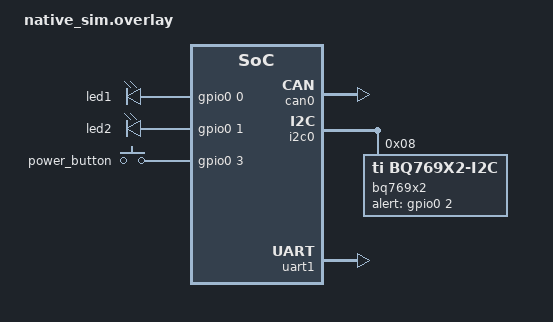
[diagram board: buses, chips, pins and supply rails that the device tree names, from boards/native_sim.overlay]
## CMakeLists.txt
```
# SPDX-License-Identifier: Apache-2.0

cmake_minimum_required(VERSION 3.13.1)
find_package(Zephyr REQUIRED HINTS $ENV{ZEPHYR_BASE})

project(libre_solar_bms)

add_subdirectory_ifndef(CONFIG_MCUBOOT src)

# determine git tag and commit hash for automatic firmware versioning
find_package(Git)
if(GIT_FOUND)
    execute_process(
        COMMAND ${GIT_EXECUTABLE} describe --long --dirty --tags
        OUTPUT_VARIABLE FIRMWARE_VERSION_ID
        OUTPUT_STRIP_TRAILING_WHITESPACE)
else()
    set(FIRMWARE_VERSION_ID "unknown")
endif()
add_definitions(-DFIRMWARE_VERSION_ID="${FIRMWARE_VERSION_ID}")
```

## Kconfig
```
# Copyright (c) The Libre Solar Project Contributors
# SPDX-License-Identifier: Apache-2.0

mainmenu "Libre Solar Battery Management System Firmware"

menu "Battery default settings"

config BAT_CAPACITY_AH
    int "Battery nominal capacity in Ah"
    range 10 1000
    default 50
    help
      Nominal battery capacity or sum of parallel cells capacity

choice
    prompt "Default cell type"
    default CELL_TYPE_LFP
    help
      Select the type of the single cells inside the battery
      to determine voltage set points. Total voltage set points
      are multiplied with the selected number of cells.

      The default values based on this configuration can be overriden via ThingSet.

    config CELL_TYPE_LFP
        bool "LiFePO4, 3.3V nominal"

    config CELL_TYPE_NMC
        bool "NMC/Graphite, 3.7V nominal, 4.2V max"

    config CELL_TYPE_LTO
        bool "NMC/Titanate, 2.4 V nominal"

endchoice

# values must match enum CellType in bms.h
config CELL_TYPE
    int
    default 0 if CELL_TYPE_LFP
    default 1 if CELL_TYPE_NMC
    default 2 if CELL_TYPE_LTO

endmenu

# include main Zephyr menu entries from Zephyr root directory
source "Kconfig.zephyr"
```

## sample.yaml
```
# SPDX-License-Identifier: Apache-2.0

sample:
  name: Libre Solar BMS Firmware

tests:
  bms.native_sim:
    build_only: true
    platform_allow: native_sim

  bms.5s50_sc:
    build_only: true
    platform_allow: bms_5s50_sc

  bms.8s50_ic.oled:
    build_only: true
    platform_allow: bms_8s50_ic@0.2.0
    extra_args:
      - EXTRA_CONF_FILE=oled.conf
      - SHIELD=uext_oled

  bms.15s80_sc:
    build_only: true
    platform_allow: bms_15s80_sc

  bms.16s100_sc:
    build_only: true
    platform_allow: bms_16s100_sc

  bms.c1:
    build_only: true
    platform_allow: bms_c1@0.4.0

  bms.c1.sysbuild:
    build_only: true
    platform_allow: bms_c1@0.4.0
    sysbuild: true
```

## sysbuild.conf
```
# Sysbuild configuration file

# Use MCUboot as bootloader
SB_CONFIG_BOOTLOADER_MCUBOOT=y

# Keep the MCUboot behavior of Zephyr < v4.5 on Espressif SoCs (overwrite-only, unsigned images)
# so that new application images stay compatible with bootloaders already deployed in the field.
SB_CONFIG_MCUBOOT_MODE_OVERWRITE_ONLY=y
SB_CONFIG_BOOT_SIGNATURE_TYPE_NONE=y
```

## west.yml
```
# SPDX-License-Identifier: Apache-2.0

manifest:
  remotes:
    - name: zephyrproject-rtos
      url-base: https://github.com/zephyrproject-rtos
    - name: libresolar
      url-base: https://github.com/LibreSolar
    - name: thingset
      url-base: https://github.com/ThingSet
    - name: throwtheswitch
      url-base: https://github.com/ThrowTheSwitch
  projects:
    - name: zephyr
      remote: zephyrproject-rtos
      revision: v2.7-branch
      import:
        name-whitelist:
          - cmsis
          - edtt
          - hal_stm32
    - name: oled-display-library
      remote: libresolar
      revision: cc3033c0daace8cb50ab0e6406a9498cc81cdb39
      path: modules/oled-display
    - name: thingset-device-library
      remote: thingset
      revision: c3388d7a72e2d20760e7b4ad6c06b6b588849994
      path: modules/thingset
    - name: unity
      remote: throwtheswitch
      revision: 74cde089e65c3435ce9aa87d5c69f4f16b7f6ade
      path: modules/unity
```

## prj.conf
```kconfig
# SPDX-License-Identifier: Apache-2.0

CONFIG_PICOLIBC_IO_FLOAT=y

CONFIG_THREAD_NAME=y

CONFIG_REBOOT=y

CONFIG_EVENTS=y
CONFIG_HWINFO=y

CONFIG_LOG=y
CONFIG_LOG_MODE_MINIMAL=y

CONFIG_I2C=y
CONFIG_BMS_IC=y

# Enable ThingSet library and comms interfaces
CONFIG_THINGSET=y
CONFIG_THINGSET_SDK=y
CONFIG_THINGSET_SERIAL=y
CONFIG_THINGSET_STORAGE=y
CONFIG_THINGSET_STORAGE_DATA_VERSION=2
CONFIG_THINGSET_NODE_NAME="Libre Solar BMS"

# Uncomment to disable live data publication at startup
#CONFIG_THINGSET_REPORTING_LIVE_ENABLE_PRESET=n

# Change default battery nominal capacity (in Ah)
#CONFIG_BAT_CAPACITY_AH=?

# Select cell type for initial configuration: LFP (default), NMC or LTO
#CONFIG_CELL_TYPE_???=y
```

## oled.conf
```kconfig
# SPDX-License-Identifier: Apache-2.0

CONFIG_DISPLAY=y
CONFIG_CHARACTER_FRAMEBUFFER=y
CONFIG_CHARACTER_FRAMEBUFFER_USE_DEFAULT_FONTS=n
CONFIG_HEAP_MEM_POOL_SIZE=4096
```

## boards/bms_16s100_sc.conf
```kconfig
# Copyright (c) The Libre Solar Project Contributors
# SPDX-License-Identifier: Apache-2.0

# STM32G0B1 does not have hardware random number generator. Test RNG should
# be sufficient for CAN node address assignment purposes.
CONFIG_TEST_RANDOM_GENERATOR=y

CONFIG_CAN=y
CONFIG_ISOTP=y
CONFIG_ISOTP_FAST=y

CONFIG_FLASH=y
CONFIG_NVS=y
CONFIG_NVS_LOG_LEVEL_WRN=y
```

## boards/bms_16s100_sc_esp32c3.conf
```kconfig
# Flash
CONFIG_MPU_ALLOW_FLASH_WRITE=y
CONFIG_FLASH=y
CONFIG_NVS=y
CONFIG_NVS_LOG_LEVEL_WRN=y

# Bluetooth
CONFIG_BT=y
CONFIG_BT_PERIPHERAL=y
CONFIG_BT_DEVICE_NAME="LibreSolar BMS-C1"
CONFIG_BT_DEVICE_NAME_DYNAMIC=y
CONFIG_BT_GATT_CLIENT=y

# Increase buffer sizes to allow long ATT values
CONFIG_BT_BUF_ACL_RX_SIZE=251
CONFIG_BT_BUF_ACL_TX_SIZE=251
CONFIG_BT_L2CAP_TX_MTU=251

CONFIG_THINGSET_BLE=y

CONFIG_SHELL=y
# Avoid conflicts with ThingSet ? command
CONFIG_SHELL_WILDCARD=n
# Support `select thingset` to run ThingSet requests directly
CONFIG_SHELL_CMDS_SELECT=y

CONFIG_THINGSET_SHELL=y
CONFIG_THINGSET_SHELL_REPORTING=n
CONFIG_THINGSET_SHELL_CMD_BUF_SIZE=256
```

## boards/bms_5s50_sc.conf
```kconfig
# MCU does not have sufficient RAM
CONFIG_THINGSET_CAN=n
```

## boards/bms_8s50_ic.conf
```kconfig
# Copyright (c) The Libre Solar Project Contributors
# SPDX-License-Identifier: Apache-2.0

CONFIG_EEPROM=y
CONFIG_EEPROM_AT24=y

CONFIG_CAN=y
CONFIG_ISOTP=y
CONFIG_ISOTP_FAST=y
CONFIG_ENTROPY_GENERATOR=y

CONFIG_THINGSET_CAN=y
```

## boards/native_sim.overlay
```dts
/*
 * Copyright (c) The Libre Solar Project Contributors
 *
 * SPDX-License-Identifier: Apache-2.0
 */

#include <dt-bindings/bms_ic/bq769x2.h>

/ {
	pcb {
		compatible = "bms";

		type = "BMS Simulator";
		version-str = "v0.1";
		version-num = <1>;
	};

	chosen {
		zephyr,canbus = &can0;
		thingset,eeprom = &eeprom0;
		thingset,serial = &uart1;
	};

	leds {
		compatible = "gpio-leds";
		led1: led_0 {
			gpios = <&gpio0 0 GPIO_ACTIVE_HIGH>;
		};
		led2: led_1 {
			gpios = <&gpio0 1 GPIO_ACTIVE_HIGH>;
		};
	};

	gpio_keys {
		compatible = "gpio-keys";
		power_button: button {
			gpios = <&gpio0 3 GPIO_ACTIVE_HIGH>;
		};
	};

	aliases {
		led-red = &led1;
		led-green = &led2;
		sw-pwr = &power_button;
		bms-ic = &bq769x2;
	};
};

/*
 * Set up a virtual CAN interface with following commands:
 *
 * sudo ip link add dev vcan0 type vcan
 * sudo ip link set up vcan0
 */
&can0 {
	status = "okay";
	host-interface = "vcan0";
};

&i2c0 {
	status = "okay";

	bq769x2: bq76952@8 {
		compatible = "ti,bq769x2-i2c";
		reg = <0x08>;
		alert-gpios = <&gpio0 2 GPIO_ACTIVE_HIGH>;
		used-cell-channels = <0xFFFF>;
		/* all NTCs configured with 18k pull-up */
		ts1-pin-config = <0x07>;
		dchg-pin-config = <0x0F>;
		cell-temp-pins = <BQ769X2_PIN_TS1>;
		fet-temp-pin = <BQ769X2_PIN_DCHG>;
		board-max-current = <50>;
		shunt-resistor-uohm = <500>;
		status = "okay";
	};
};

&uart1 {
    status = "okay";
};
```

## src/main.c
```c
/*
 * Copyright (c) The Libre Solar Project Contributors
 *
 * SPDX-License-Identifier: Apache-2.0
 */

#include <zephyr/device.h>
#include <zephyr/kernel.h>

#include <stdio.h>

#include "button.h"
#include "data_objects.h"
#include "helper.h"
#include "leds.h"
#include "thingset.h"
#include <bms/bms.h>

LOG_MODULE_REGISTER(bms_main, CONFIG_LOG_DEFAULT_LEVEL);

struct bms_context bms = {
    .ic_dev = DEVICE_DT_GET(DT_ALIAS(bms_ic)),
};

int main(void)
{
    int err;

    LOG_INF("Hardware: Libre Solar %s (%s)", DT_PROP(DT_PATH(pcb), type),
            DT_PROP(DT_PATH(pcb), version_str));
    LOG_INF("Firmware: %s", FIRMWARE_VERSION_ID);

    if (!device_is_ready(bms.ic_dev)) {
        LOG_ERR("BMS IC not ready");
        return -ENODEV;
    }

    bms_ic_assign_data(bms.ic_dev, &bms.ic_data);

    err = bms_ic_set_mode(bms.ic_dev, BMS_IC_MODE_ACTIVE);
    if (err != 0) {
        LOG_ERR("Failed to activate BMS IC: %d", err);
    }

    err = bms_ic_configure(bms.ic_dev, &bms.ic_conf, BMS_IC_CONF_ALL);
    if (err < 0) {
        LOG_ERR("Failed to configure BMS IC: %d", err);
    }

    err = bms_ic_read_data(bms.ic_dev, BMS_IC_DATA_CELL_VOLTAGES);
    if (err != 0) {
        LOG_ERR("Failed to read data from BMS IC: %d", err);
    }

    bms_soc_reset(&bms, -1);

    button_init();

    int64_t t_start = k_uptime_get();
    while (true) {
        err = bms_ic_read_data(bms.ic_dev, BMS_IC_DATA_ALL);
        if (err != 0) {
            LOG_ERR("Failed to read data from BMS IC: %d", err);
        }

        bms_soc_update(&bms);

        bms_state_machine(&bms);

        if (button_pressed_for_3s()) {
            LOG_WRN("Button pressed for 3s: shutdown...");
            bms_shutdown(&bms);
            /*
             * Wait another 10s for the user to release the button again before actually turning off
             * the BMS IC (otherwise it will immediately restart).
             */
            k_sleep(K_MSEC(10000));
            bms_ic_set_mode(bms.ic_dev, BMS_IC_MODE_OFF);
        }

        t_start += CONFIG_BMS_IC_POLLING_INTERVAL_MS;
        k_sleep(K_TIMEOUT_ABS_MS(t_start));
    }

    return 0;
}

static int init_config(void)
{
    bms_init_config(&bms, (enum bms_cell_type)CONFIG_CELL_TYPE, CONFIG_BAT_CAPACITY_AH);

    return 0;
}

/*
 * The default configuration must be initialized before the ThingSet storage backend reads data
 * from EEPROM or flash (with THINGSET_INIT_PRIORITY_STORAGE = 40).
 */
SYS_INIT(init_config, APPLICATION, 0);
```

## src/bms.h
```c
/*
 * Copyright (c) The Libre Solar Project Contributors
 *
 * SPDX-License-Identifier: Apache-2.0
 */

#ifndef BMS_H
#define BMS_H

/** @file
 *
 * @brief
 * Battery Management System (BMS) module for different analog frontends
 */

#include "board.h"

#ifdef __cplusplus
extern "C" {
#endif

#include <stdbool.h>
#include <stddef.h>
#include <stdint.h>
#include <stdio.h>
#include <time.h>

/* fixed number of OCV vs. SOC points */
#define OCV_POINTS 21

static const float soc_pct[OCV_POINTS] = { 100.0F, 95.0F, 90.0F, 85.0F, 80.0F, 85.0F, 70.0F,
                                           65.0F,  60.0F, 55.0F, 50.0F, 45.0F, 40.0F, 35.0F,
                                           30.0F,  25.0F, 20.0F, 15.0F, 10.0F, 5.0F,  0.0F };

/**
 * Possible BMS states
 */
enum BmsState
{
    BMS_STATE_OFF,      ///< Off state (charging and discharging disabled)
    BMS_STATE_CHG,      ///< Charging state (discharging disabled)
    BMS_STATE_DIS,      ///< Discharging state (charging disabled)
    BMS_STATE_NORMAL,   ///< Normal operating mode (both charging and discharging enabled)
    BMS_STATE_SHUTDOWN, ///< BMS starting shutdown sequence
};

/**
 * Battery cell types
 */
enum CellType
{
    CELL_TYPE_CUSTOM = 0, ///< Custom settings
    CELL_TYPE_LFP,        ///< LiFePO4 Li-ion cells (3.3 V nominal)
    CELL_TYPE_NMC,        ///< NMC/Graphite Li-ion cells (3.7 V nominal)
    CELL_TYPE_NMC_HV,     ///< NMC/Graphite High Voltage Li-ion cells (3.7 V nominal, 4.35 V max)
    CELL_TYPE_LTO         ///< NMC/Titanate (2.4 V nominal)
};

/**
 * BMS configuration values, stored in RAM. The configuration is not automatically applied after
 * values are changed!
 */
typedef struct
{
    /// Effective resistance of the current measurement shunt(s) on the PCB (milli-Ohms)
    float shunt_res_mOhm;

    /// Beta value of the used thermistor. Typical value for Semitec 103AT-5 thermistor: 3435
    uint16_t thermistor_beta;

    /// \brief Pointer to an array containing the Open Circuit Voltage of the cell vs. SOC.
    /// SOC must be equally spaced in descending order (100%, 95%, ..., 5%, 0%)
    float *ocv;

    float nominal_capacity_Ah; ///< Nominal capacity of battery pack (Ah)

    // Current limits
    float dis_sc_limit;       ///< Discharge short circuit limit (A)
    uint32_t dis_sc_delay_us; ///< Discharge short circuit delay (us)
    float dis_oc_limit;       ///< Discharge over-current limit (A)
    uint32_t dis_oc_delay_ms; ///< Discharge over-current delay (ms)
    float chg_oc_limit;       ///< Charge over-current limit (A)
    uint32_t chg_oc_delay_ms; ///< Charge over-current delay (ms)

    // Cell voltage limits
    float cell_chg_voltage;    ///< Cell target charge voltage (V)
    float cell_dis_voltage;    ///< Cell discharge voltage limit (V)
    float cell_ov_limit;       ///< Cell over-voltage limit (V)
    float cell_ov_reset;       ///< Cell over-voltage error reset threshold (V)
    uint32_t cell_ov_delay_ms; ///< Cell over-voltage delay (ms)
    float cell_uv_limit;       ///< Cell under-voltage limit (V)
    float cell_uv_reset;       ///< Cell under-voltage error reset threshold (V)
    uint32_t cell_uv_delay_ms; ///< Cell under-voltage delay (ms)

    // Temperature limits (°C)
    float dis_ot_limit; ///< Discharge over-temperature (DOT) limit (°C)
    float dis_ut_limit; ///< Discharge under-temperature (DUT) limit (°C)
    float chg_ot_limit; ///< Charge over-temperature (COT) limit (°C)
    float chg_ut_limit; ///< Charge under-temperature (CUT) limit (°C)
    float t_limit_hyst; ///< Temperature limit hysteresis (°C)

    // Balancing settings
    float bal_cell_voltage_diff; ///< Balancing cell voltage target difference (V)
    float bal_cell_voltage_min;  ///< Minimum cell voltage to start balancing (V)
    float bal_idle_current;      ///< Current threshold to be considered idle (A)
    uint16_t bal_idle_delay;     ///< Minimum idle duration before balancing (s)
} BmsConfig;

/**
 * Current BMS status including measurements and error flags
 */
typedef struct
{
    uint16_t state;  ///< Current state of the battery
    bool chg_enable; ///< Manual enable/disable setting for charging
    bool dis_enable; ///< Manual enable/disable setting for discharging

    uint16_t connected_cells; ///< \brief Actual number of cells connected (might
                              ///< be less than BOARD_NUM_CELLS_MAX)

    float cell_voltages[BOARD_NUM_CELLS_MAX]; ///< Single cell voltages (V)
    float cell_voltage_max;                   ///< Maximum cell voltage (V)
    float cell_voltage_min;                   ///< Minimum cell voltage (V)
    float cell_voltage_avg;                   ///< Average cell voltage (V)
    float pack_voltage;                       ///< Battery external pack voltage (V)
    float stack_voltage;                      ///< Battery internal stack voltage (V)

    float pack_current; ///< \brief Battery pack current, charging direction
                        ///< has positive sign (A)

    float bat_temps[BOARD_NUM_THERMISTORS_MAX]; ///< Battery temperatures (°C)
    float bat_temp_max;                         ///< Maximum battery temperature (°C)
    float bat_temp_min;                         ///< Minimum battery temperature (°C)
    float bat_temp_avg;                         ///< Average battery temperature (°C)
    float mosfet_temp;                          ///< MOSFET temperature (°C)
    float ic_temp;                              ///< Internal BMS IC temperature (°C)
    float mcu_temp;                             ///< MCU temperature (°C)

    bool full;  ///< CV charging to cell_chg_voltage finished
    bool empty; ///< Battery is discharged below cell_dis_voltage

    float soc; ///< Calculated State of Charge (%)

    uint32_t balancing_status; ///< holds on/off status of balancing switches
    time_t no_idle_timestamp;  ///< Stores last time of current > idle threshold

    uint32_t error_flags; ///< Bit array for different BmsErrorFlag errors
} BmsStatus;

/**
 * BMS error flags
 */
enum BmsErrorFlag
{
    BMS_ERR_CELL_UNDERVOLTAGE = 0, ///< Cell undervoltage flag
    BMS_ERR_CELL_OVERVOLTAGE = 1,  ///< Cell undervoltage flag
    BMS_ERR_SHORT_CIRCUIT = 2,     ///< Pack short circuit (discharge direction)
    BMS_ERR_DIS_OVERCURRENT = 3,   ///< Pack overcurrent (discharge direction)
    BMS_ERR_CHG_OVERCURRENT = 4,   ///< Pack overcurrent (charge direction)
    BMS_ERR_OPEN_WIRE = 5,         ///< Cell open wire
    BMS_ERR_DIS_UNDERTEMP = 6,     ///< Temperature below discharge minimum limit
    BMS_ERR_DIS_OVERTEMP = 7,      ///< Temperature above discharge maximum limit
    BMS_ERR_CHG_UNDERTEMP = 8,     ///< Temperature below charge maximum limit
    BMS_ERR_CHG_OVERTEMP = 9,      ///< Temperature above charge maximum limit
    BMS_ERR_INT_OVERTEMP = 10,     ///< Internal temperature above limit (e.g. BMS IC)
    BMS_ERR_CELL_FAILURE = 11,     ///< Cell failure (too high voltage difference)
    BMS_ERR_DIS_OFF = 12,          ///< Discharge FET is off even though it should be on
    BMS_ERR_CHG_OFF = 13,          ///< Charge FET is off even though it should be on
    BMS_ERR_FET_OVERTEMP = 14,     ///< MOSFET temperature above limit
};

typedef struct
{
    BmsConfig conf;
    BmsStatus status;
} Bms;

/**
 * Initialization of BmsStatus with suitable default values.
 *
 * @param bms Pointer to BMS object.
 */
void bms_init_status(Bms *bms);

/**
 * Initialization of BmsConfig with typical default values for the given cell type.
 *
 * @param bms Pointer to BMS object.
 * @param type One of enum CellType (defined as int so that it can be set via Kconfig).
 * @param nominal_capacity Nominal capacity of the battery pack.
 */
void bms_init_config(Bms *bms, int type, float nominal_capacity);

/**
 * Initialization of BMS incl. setup of communication. This function does not yet set any config.
 *
 * @param bms Pointer to BMS object.
 *
 * @returns 0 on success, otherwise negative error code.
 */
int bms_init_hardware(Bms *bms);

/**
 * Main BMS state machine
 *
 * @param bms Pointer to BMS object.
 */
void bms_state_machine(Bms *bms);

/**
 * Update measurements and check for errors before calling the state machine
 *
 * Should be called at least once every 250 ms to get correct coulomb counting
 *
 * @param bms Pointer to BMS object.
 */
void bms_update(Bms *bms);

/**
 * BMS IC start-up delay indicator
 *
 * @returns true if we should wait for the BMS IC to start up
 */
bool bms_startup_inhibit();

/**
 * Shut down BMS IC and entire PCB power supply
 */
void bms_shutdown(Bms *bms);

/**
 * Enable/disable charge MOSFET
 *
 * @param bms Pointer to BMS object.
 * @param enable Desired status of the MOSFET.
 *
 * @returns 0 on success, otherwise negative error code.
 */
int bms_chg_switch(Bms *bms, bool enable);

/**
 * Enable/disable discharge MOSFET
 *
 * @param bms Pointer to BMS object.
 * @param enable Desired status of the MOSFET.
 *
 * @returns 0 on success, otherwise negative error code.
 */
int bms_dis_switch(Bms *bms, bool enable);

/**
 * Charging error flags check
 *
 * @returns true if any charging error flag is set
 */
bool bms_chg_error(uint32_t error_flags);

/**
 * Discharging error flags check
 *
 * @returns true if any discharging error flag is set
 */
bool bms_dis_error(uint32_t error_flags);

/**
 * Check if charging is allowed
 *
 * @returns true if no charging error flags are set
 */
bool bms_chg_allowed(Bms *bms);

/**
 * Check if discharging is allowed
 *
 * @param bms Pointer to BMS object.
 *
 * @returns true if no discharging error flags are set
 */
bool bms_dis_allowed(Bms *bms);

/**
 * Balancing limits check
 *
 * @param bms Pointer to BMS object.
 *
 * @returns if balancing is allowed
 */
bool bms_balancing_allowed(Bms *bms);

/**
 * Reset SOC to specified value or calculate based on average cell open circuit voltage
 *
 * @param bms Pointer to BMS object.
 * @param percent 0-100 %, -1 for calculation based on OCV
 */
void bms_soc_reset(Bms *bms, int percent);

/**
 * Update SOC based on most recent current measurement
 *
 * Function should be called each time after a new current measurement was obtained.
 *
 * @param bms Pointer to BMS object.
 */
void bms_soc_update(Bms *bms);

/**
 * Apply BMS configuration
 *
 * This includes all voltage, current and temperature thresholds as well as balancing settings.
 *
 * If any of the setpoints does not exactly match a possible setting in the BMS IC, it is rounded
 * to the closest allowed value and this value is written back to the BMS config.
 *
 * @param bms Pointer to BMS object.
 *
 * @returns 0 on success, otherwise negative error code.
 */
int bms_configure(Bms *bms);

/**
 * Reads all cell voltages to array cell_voltages[NUM_CELLS], updates battery_voltage and updates
 * ids of cells with min/max voltage
 *
 * @param bms Pointer to BMS object.
 */
void bms_read_voltages(Bms *bms);

/**
 * Reads pack current and updates coloumb counter and SOC
 *
 * @param bms Pointer to BMS object.
 */
void bms_read_current(Bms *bms);

/**
 * Reads all temperature sensors
 *
 * @param bms Pointer to BMS object.
 */
void bms_read_temperatures(Bms *bms);

/**
 * Reads error flags from IC or updates them based on measurements
 *
 * @param bms Pointer to BMS object.
 */
void bms_update_error_flags(Bms *bms);

/**
 * Tries to handle / resolve errors
 *
 * @param bms Pointer to BMS object.
 */
void bms_handle_errors(Bms *bms);

/**
 * Print BMS IC register
 *
 * @param addr Address of the register
 */
void bms_print_register(uint16_t addr);

/**
 * Print all BMS IC registers
 */
void bms_print_registers();

#ifdef __cplusplus
}
#endif

#endif // BMS_H
```

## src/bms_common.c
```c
/*
 * Copyright (c) The Libre Solar Project Contributors
 *
 * SPDX-License-Identifier: Apache-2.0
 */

#include <bms/bms.h>
#include <bms/bms_common.h>

#include "helper.h"

#include <stdio.h>

LOG_MODULE_REGISTER(bms, CONFIG_LOG_DEFAULT_LEVEL);

static const float ocv_lfp[NUM_OCV_POINTS] = {
    3.392F, 3.314F, 3.309F, 3.308F, 3.304F, 3.296F, 3.283F, 3.275F, 3.271F, 3.268F, 3.265F,
    3.264F, 3.262F, 3.252F, 3.240F, 3.226F, 3.213F, 3.190F, 3.177F, 3.132F, 2.833F,
};

static const float ocv_nmc[NUM_OCV_POINTS] = {
    4.198F, 4.135F, 4.089F, 4.056F, 4.026F, 3.993F, 3.962F, 3.924F, 3.883F, 3.858F, 3.838F,
    3.819F, 3.803F, 3.787F, 3.764F, 3.745F, 3.726F, 3.702F, 3.684F, 3.588F, 2.800F,
};

// Source: DOI:10.3390/batteries5010031 (https://www.mdpi.com/2313-0105/5/1/31)
static const float ocv_lto[NUM_OCV_POINTS] = {
    2.800F, 2.513F, 2.458F, 2.415F, 2.376F, 2.340F, 2.309F, 2.282F, 2.259F, 2.240F, 2.224F,
    2.210F, 2.198F, 2.187F, 2.177F, 2.166F, 2.154F, 2.141F, 2.125F, 2.105F, 2.000F,
};

static const float soc_default[NUM_OCV_POINTS] = {
    100.0F, 95.0F, 90.0F, 85.0F, 80.0F, 75.0F, 70.0F, 65.0F, 60.0F, 55.0F, 50.0F,
    45.0F,  40.0F, 35.0F, 30.0F, 25.0F, 20.0F, 15.0F, 10.0F, 5.0F,  0.0F,
};

// actually used OCV vs. SOC curve
float ocv_points[NUM_OCV_POINTS] = { 0 };
float soc_points[NUM_OCV_POINTS] = { 0 };

void bms_init_config(struct bms_context *bms, enum bms_cell_type type, float nominal_capacity_Ah)
{
    bms->nominal_capacity_Ah = nominal_capacity_Ah;
    bms->soc_coulomb_counter_mAs = 0.0F;
    bms->soc_last_update_ms = -1;

    bms->chg_enable = true;
    bms->dis_enable = true;

    bms->ic_conf.auto_balancing = true;
    bms->ic_conf.bal_idle_delay = 1800;         // default: 30 minutes
    bms->ic_conf.bal_idle_current = 0.1F;       // A
    bms->ic_conf.bal_cell_voltage_diff = 0.01F; // 10 mV

#ifdef CONFIG_BMS_IC_CURRENT_MONITORING
    /* 1C should be safe for all batteries */
    bms->ic_conf.dis_oc_limit = bms->nominal_capacity_Ah;
    bms->ic_conf.chg_oc_limit = bms->nominal_capacity_Ah;

    bms->ic_conf.dis_oc_delay_ms = 320;
    bms->ic_conf.chg_oc_delay_ms = 320;

    bms->ic_conf.dis_sc_limit = bms->ic_conf.dis_oc_limit * 2;
    bms->ic_conf.dis_sc_delay_us = 200;
#endif /* CONFIG_BMS_IC_CURRENT_MONITORING */

    bms->ic_conf.dis_ut_limit = -20;
    bms->ic_conf.dis_ot_limit = 45;
    bms->ic_conf.chg_ut_limit = 0;
    bms->ic_conf.chg_ot_limit = 45;
    bms->ic_conf.temp_limit_hyst = 5;

    bms->ic_conf.cell_ov_delay_ms = 2000;
    bms->ic_conf.cell_uv_delay_ms = 2000;

    bms->ocv_points = ocv_points;
    bms->soc_points = soc_points;

    memcpy(soc_points, soc_default, sizeof(soc_points));

    switch (type) {
        case CELL_TYPE_LFP:
            bms->ic_conf.cell_ov_limit = 3.80F;
            bms->ic_conf.cell_chg_voltage_limit = 3.55F;
            bms->ic_conf.cell_ov_reset = 3.40F;
            bms->ic_conf.bal_cell_voltage_min = 3.30F;
            bms->ic_conf.cell_uv_reset = 3.10F;
            bms->ic_conf.cell_dis_voltage_limit = 2.80F;
            /*
             * most cells survive even 2.0V, but we should keep some margin for further
             * self-discharge
             */
            bms->ic_conf.cell_uv_limit = 2.50F;
            memcpy(ocv_points, ocv_lfp, sizeof(ocv_points));
            break;
        case CELL_TYPE_NMC:
            bms->ic_conf.cell_ov_limit = 4.25F;
            bms->ic_conf.cell_chg_voltage_limit = 4.20F;
            bms->ic_conf.cell_ov_reset = 4.05F;
            bms->ic_conf.bal_cell_voltage_min = 3.80F;
            bms->ic_conf.cell_uv_reset = 3.50F;
            bms->ic_conf.cell_dis_voltage_limit = 3.20F;
            bms->ic_conf.cell_uv_limit = 3.00F;
            memcpy(ocv_points, ocv_nmc, sizeof(ocv_points));
            break;
        case CELL_TYPE_LTO:
            bms->ic_conf.cell_ov_limit = 2.85F;
            bms->ic_conf.cell_chg_voltage_limit = 2.80F;
            bms->ic_conf.cell_ov_reset = 2.70F;
            bms->ic_conf.bal_cell_voltage_min = 2.50F;
            bms->ic_conf.cell_uv_reset = 2.10F;
            bms->ic_conf.cell_dis_voltage_limit = 2.00F;
            bms->ic_conf.cell_uv_limit = 1.90F;
            memcpy(ocv_points, ocv_lto, sizeof(ocv_points));
            break;
    }

    /* trigger alert for all possible errors by default */
    bms->ic_conf.alert_mask = BMS_ERR_ALL;
}

__weak void bms_state_machine(struct bms_context *bms)
{
    switch (bms->state) {
        case BMS_STATE_OFF:
            if (bms_dis_allowed(bms)) {
                bms_ic_set_switches(bms->ic_dev, BMS_SWITCH_DIS, true);
                bms->state = BMS_STATE_DIS;
                LOG_INF("OFF -> DIS (error flags: 0x%08x)", bms->ic_data.error_flags);
            }
            else if (bms_chg_allowed(bms)) {
                bms_ic_set_switches(bms->ic_dev, BMS_SWITCH_CHG, true);
                bms->state = BMS_STATE_CHG;
                LOG_INF("OFF -> CHG (error flags: 0x%08x)", bms->ic_data.error_flags);
            }
            break;
        case BMS_STATE_CHG:
            if (!bms_chg_allowed(bms)) {
                bms_ic_set_switches(bms->ic_dev, BMS_SWITCH_CHG, false);
                /* DIS switch may be on on because of ideal diode control */
                bms_ic_set_switches(bms->ic_dev, BMS_SWITCH_DIS, false);
                bms->state = BMS_STATE_OFF;
                LOG_INF("CHG -> OFF (error flags: 0x%08x)", bms->ic_data.error_flags);
            }
            else if (bms_dis_allowed(bms)) {
                bms_ic_set_switches(bms->ic_dev, BMS_SWITCH_DIS, true);
                bms->state = BMS_STATE_NORMAL;
                LOG_INF("CHG -> NORMAL (error flags: 0x%08x)", bms->ic_data.error_flags);
            }
#ifndef CONFIG_BMS_IC_BQ769X2 /* bq769x2 has built-in ideal diode control */
            else {
                /* ideal diode control for discharge MOSFET (with hysteresis) */
                if (bms->ic_data.current > 0.5F) {
                    bms_ic_set_switches(bms->ic_dev, BMS_SWITCH_DIS, true);
                }
                else if (bms->ic_data.current < 0.1F) {
                    bms_ic_set_switches(bms->ic_dev, BMS_SWITCH_DIS, false);
                }
            }
#endif
            break;
        case BMS_STATE_DIS:
            if (!bms_dis_allowed(bms)) {
                bms_ic_set_switches(bms->ic_dev, BMS_SWITCH_DIS, false);
                /* CHG_FET may be on because of ideal diode control */
                bms_ic_set_switches(bms->ic_dev, BMS_SWITCH_CHG, false);
                bms->state = BMS_STATE_OFF;
                LOG_INF("DIS -> OFF (error flags: 0x%08x)", bms->ic_data.error_flags);
            }
            else if (bms_chg_allowed(bms)) {
                bms_ic_set_switches(bms->ic_dev, BMS_SWITCH_CHG, true);
                bms->state = BMS_STATE_NORMAL;
                LOG_INF("DIS -> NORMAL (error flags: 0x%08x)", bms->ic_data.error_flags);
            }
#ifndef CONFIG_BMS_IC_BQ769X2 /* bq769x2 has built-in ideal diode control */
            else {
                /* ideal diode control for charge MOSFET (with hysteresis) */
                if (bms->ic_data.current < -0.5F) {
                    bms_ic_set_switches(bms->ic_dev, BMS_SWITCH_CHG, true);
                }
                else if (bms->ic_data.current > -0.1F) {
                    bms_ic_set_switches(bms->ic_dev, BMS_SWITCH_CHG, false);
                }
            }
#endif
            break;
        case BMS_STATE_NORMAL:
            if (!bms_dis_allowed(bms)) {
                bms_ic_set_switches(bms->ic_dev, BMS_SWITCH_DIS, false);
                if (!bms_chg_allowed(bms)) {
                    bms_ic_set_switches(bms->ic_dev, BMS_SWITCH_CHG, false);
                    bms->state = BMS_STATE_OFF;
                    LOG_INF("NORMAL -> OFF (error flags: 0x%08x)", bms->ic_data.error_flags);
                }
                else {
                    bms->state = BMS_STATE_CHG;
                    LOG_INF("NORMAL -> CHG (error flags: 0x%08x)", bms->ic_data.error_flags);
                }
            }
            else if (!bms_chg_allowed(bms)) {
                bms_ic_set_switches(bms->ic_dev, BMS_SWITCH_CHG, false);
                bms->state = BMS_STATE_DIS;
                LOG_INF("NORMAL -> DIS (error flags: 0x%08x)", bms->ic_data.error_flags);
            }
            break;
        case BMS_STATE_SHUTDOWN:
            /* do nothing and wait until shutdown is completed */
            break;
    }
}

void bms_shutdown(struct bms_context *bms)
{
    bms_ic_set_switches(bms->ic_dev, BMS_SWITCH_DIS, false);
    bms_ic_set_switches(bms->ic_dev, BMS_SWITCH_CHG, false);
    bms->state = BMS_STATE_SHUTDOWN;
}

bool bms_chg_error(uint32_t error_flags)
{
    return error_flags
           & (BMS_ERR_CELL_OVERVOLTAGE | BMS_ERR_CHG_OVERCURRENT | BMS_ERR_OPEN_WIRE
              | BMS_ERR_CHG_UNDERTEMP | BMS_ERR_CHG_OVERTEMP | BMS_ERR_INT_OVERTEMP
              | BMS_ERR_CELL_FAILURE | BMS_ERR_CHG_OFF);
}

bool bms_dis_error(uint32_t error_flags)
{
    return error_flags
           & (BMS_ERR_CELL_UNDERVOLTAGE | BMS_ERR_SHORT_CIRCUIT | BMS_ERR_DIS_OVERCURRENT
              | BMS_ERR_OPEN_WIRE | BMS_ERR_DIS_UNDERTEMP | BMS_ERR_DIS_OVERTEMP
              | BMS_ERR_INT_OVERTEMP | BMS_ERR_CELL_FAILURE | BMS_ERR_DIS_OFF);
}

bool bms_chg_allowed(struct bms_context *bms)
{
    return !bms_chg_error(bms->ic_data.error_flags & ~BMS_ERR_CHG_OFF) && !bms->full
           && bms->chg_enable;
}

bool bms_dis_allowed(struct bms_context *bms)
{
    return !bms_dis_error(bms->ic_data.error_flags & ~BMS_ERR_DIS_OFF) && !bms->empty
           && bms->dis_enable;
}
```

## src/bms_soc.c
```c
/*
 * Copyright (c) The Libre Solar Project Contributors
 *
 * SPDX-License-Identifier: Apache-2.0
 */

#include <bms/bms.h>

#include "helper.h"

void bms_soc_reset(struct bms_context *bms, int percent)
{
    bms->soc_coulomb_counter_mAs = 0.0F;
    bms->soc_last_update_ms = -1;

    if (percent <= 100 && percent >= 0) {
        bms->soc = percent;
    }
    else if (bms->ocv_points != NULL && bms->soc_points != NULL
             && !is_empty((uint8_t *)bms->ocv_points, NUM_OCV_POINTS * sizeof(float))
             && !is_empty((uint8_t *)bms->soc_points, NUM_OCV_POINTS * sizeof(float)))
    {
        // Executes if both OCV and SOC points are valid pointers and arrays contain non-zero data.
        bms->soc = interpolate(bms->ocv_points, bms->soc_points, NUM_OCV_POINTS,
                               bms->ic_data.cell_voltage_avg);
    }
    else {
        // no OCV curve specified, use simplified estimation instead
        float ocv_simple[2] = { bms->ic_conf.cell_chg_voltage_limit,
                                bms->ic_conf.cell_dis_voltage_limit };
        float soc_simple[2] = { 100.0F, 0.0F };
        bms->soc = interpolate(ocv_simple, soc_simple, 2, bms->ic_data.cell_voltage_avg);
    }
}

void bms_soc_update(struct bms_context *bms)
{
    int64_t now = k_uptime_get();

    if (bms->soc_last_update_ms < 0) {
        bms->soc_last_update_ms = now;
        return;
    }

    bms->soc_coulomb_counter_mAs += bms->ic_data.current * (now - bms->soc_last_update_ms);
    bms->soc_last_update_ms = now;

    float soc_delta = bms->soc_coulomb_counter_mAs / (bms->nominal_capacity_Ah * 3.6e4F);

    if (soc_delta > 0.1F || soc_delta < -0.1F) {
        // only update SoC after significant changes to maintain higher resolution
        float soc_tmp = bms->soc + soc_delta;
        bms->soc = CLAMP(soc_tmp, 0.0F, 100.0F);
        bms->soc_coulomb_counter_mAs = 0.0F;
    }
}
```

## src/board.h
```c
/*
 * Copyright (c) The Libre Solar Project Contributors
 *
 * SPDX-License-Identifier: Apache-2.0
 */

#ifndef BOARD_H_
#define BOARD_H_

#include <zephyr/kernel.h>

#define BOARD_NUM_CELLS_MAX       DT_PROP(DT_PATH(pcb), num_cells_max)
#define BOARD_NUM_THERMISTORS_MAX DT_PROP(DT_PATH(pcb), num_thermistors_max)

#define BOARD_MAX_CURRENT    DT_PROP(DT_PATH(pcb), current_max)
#define BOARD_SHUNT_RESISTOR (DT_PROP(DT_PATH(pcb), shunt_res) / 1000.0)

#endif // BOARD_H_
```

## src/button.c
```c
/*
 * Copyright (c) The Libre Solar Project Contributors
 *
 * SPDX-License-Identifier: Apache-2.0
 */

#include "button.h"

#include <zephyr/device.h>
#include <zephyr/drivers/gpio.h>
#include <zephyr/kernel.h>

#include "helper.h"

LOG_MODULE_REGISTER(button, CONFIG_LOG_DEFAULT_LEVEL);

#define BTN_GPIO  DT_ALIAS(sw_pwr)
#define BTN_CTLR  DT_GPIO_CTLR(BTN_GPIO, gpios)
#define BTN_PIN   DT_GPIO_PIN(BTN_GPIO, gpios)
#define BTN_FLAGS DT_GPIO_FLAGS(BTN_GPIO, gpios)

static const struct device *btn_dev = DEVICE_DT_GET(BTN_CTLR);
static struct gpio_callback btn_cb_data;
static int64_t time_pressed;

static void button_pressed_cb(const struct device *dev, struct gpio_callback *cb, uint32_t pins)
{
    time_pressed = k_uptime_get();
}

void button_init()
{
    if (!device_is_ready(btn_dev)) {
        LOG_ERR("Button device not found");
        return;
    }

    gpio_pin_configure(btn_dev, BTN_PIN, BTN_FLAGS | GPIO_INPUT);
    gpio_pin_interrupt_configure(btn_dev, BTN_PIN, GPIO_INT_EDGE_TO_ACTIVE);
    gpio_init_callback(&btn_cb_data, button_pressed_cb, BIT(BTN_PIN));
    gpio_add_callback(btn_dev, &btn_cb_data);
}

bool button_pressed_for_3s()
{
    return gpio_pin_get(btn_dev, BTN_PIN) == 1 && (k_uptime_get() - time_pressed) > 3000;
}
```

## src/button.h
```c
/*
 * Copyright (c) The Libre Solar Project Contributors
 *
 * SPDX-License-Identifier: Apache-2.0
 */

#ifndef BUTTON_H_
#define BUTTON_H_

#include <stdbool.h>

#ifdef __cplusplus
extern "C" {
#endif

/**
 * @file
 * @brief Functions to handle on/off switch
 */

/**
 * Initialize button and configure interrupts
 */
void button_init();

/**
 * Check if button was pressed for 3 seconds
 *
 * \return true if pressed for at least 3 seconds
 */
bool button_pressed_for_3s();

#ifdef __cplusplus
}
#endif

#endif /* BUTTON_H_ */
```

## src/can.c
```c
/*
 * Copyright (c) The ThingSet Project Contributors
 *
 * SPDX-License-Identifier: Apache-2.0
 */

#include <zephyr/device.h>
#include <zephyr/kernel.h>

#include "thingset/can.h"
#include "thingset/sdk.h"

#define CAN_NODE DT_CHOSEN(thingset_can)

#if !DT_NODE_EXISTS(CAN_NODE)
#error "No CAN device chosen."
#endif

static const struct device *can_dev = DEVICE_DT_GET(CAN_NODE);

static struct thingset_can ts_can;

static void thingset_can_thread()
{
    thingset_can_init(&ts_can, can_dev);

    while (1) {
        thingset_can_process(&ts_can);
    }
}

K_THREAD_DEFINE(thingset_can, CONFIG_THINGSET_CAN_THREAD_STACK_SIZE, thingset_can_thread, NULL,
                NULL, NULL, CONFIG_THINGSET_CAN_THREAD_PRIORITY, 0, 1000);
```

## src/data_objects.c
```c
/*
 * Copyright (c) The Libre Solar Project Contributors
 *
 * SPDX-License-Identifier: Apache-2.0
 */

#include "data_objects.h"

#include <zephyr/kernel.h>

#include <zephyr/drivers/hwinfo.h>
#include <zephyr/sys/crc.h>
#include <zephyr/sys/reboot.h>

#include <thingset/sdk.h>
#include <thingset/storage.h>

#include <bms/bms.h>

#include <stdio.h>

extern struct bms_context bms;
extern float ocv_points[NUM_OCV_POINTS];
extern float soc_points[NUM_OCV_POINTS];

static char manufacturer[] = "Libre Solar";
static char device_type[] = DT_PROP(DT_PATH(pcb), type);
static char hardware_version[] = DT_PROP(DT_PATH(pcb), version_str);
static char firmware_version[] = FIRMWARE_VERSION_ID;

// struct to define ThingSet array node
static THINGSET_DEFINE_FLOAT_ARRAY(cell_voltages_arr, 3, bms.ic_data.cell_voltages,
                                   ARRAY_SIZE(bms.ic_data.cell_voltages));

static THINGSET_DEFINE_FLOAT_ARRAY(cell_temps_arr, 1, bms.ic_data.cell_temps,
                                   ARRAY_SIZE(bms.ic_data.cell_temps));

static THINGSET_DEFINE_FLOAT_ARRAY(ocv_points_arr, 3, ocv_points, ARRAY_SIZE(ocv_points));

static THINGSET_DEFINE_FLOAT_ARRAY(soc_points_arr, 1, soc_points, ARRAY_SIZE(soc_points));

// used for xInitConf functions
static float new_capacity = 0;

/**
 * ThingSet data objects (see https://github.com/ThingSet)
 */

// DEVICE INFORMATION /////////////////////////////////////////////////////

THINGSET_ADD_GROUP(TS_ID_ROOT, APP_ID_DEVICE, "Device", THINGSET_NO_CALLBACK);

THINGSET_ADD_ITEM_STRING(APP_ID_DEVICE, APP_ID_DEVICE_MANUFACTURER, "cManufacturer", manufacturer,
                         sizeof(manufacturer), THINGSET_ANY_R, 0);

THINGSET_ADD_ITEM_STRING(APP_ID_DEVICE, APP_ID_DEVICE_TYPE, "cDeviceType", device_type,
                         sizeof(device_type), THINGSET_ANY_R, 0);

THINGSET_ADD_ITEM_STRING(APP_ID_DEVICE, APP_ID_DEVICE_HW_VER, "cHardwareVersion", hardware_version,
                         sizeof(hardware_version), THINGSET_ANY_R, 0);

THINGSET_ADD_ITEM_STRING(APP_ID_DEVICE, APP_ID_DEVICE_FW_VER, "cFirmwareVersion", firmware_version,
                         sizeof(firmware_version), THINGSET_ANY_R, 0);

THINGSET_ADD_FN_VOID(APP_ID_DEVICE, APP_ID_DEVICE_SHUTDOWN, "xShutdown", &shutdown,
                     THINGSET_ANY_RW);

THINGSET_ADD_FN_VOID(APP_ID_DEVICE, APP_ID_DEVICE_RESET, "xReset", &reset_device, THINGSET_ANY_RW);

THINGSET_ADD_FN_VOID(APP_ID_DEVICE, APP_ID_DEVICE_PRINT_REGS, "xDebugPrintRegisters",
                     &print_registers, THINGSET_ANY_RW);

// CONFIGURATION //////////////////////////////////////////////////////////

THINGSET_ADD_GROUP(TS_ID_ROOT, APP_ID_CONF, "Conf", &data_objects_update_conf);

// general battery settings

THINGSET_ADD_ITEM_FLOAT(APP_ID_CONF, APP_ID_CONF_NOMINAL_CAPACITY, "sNominalCapacity_Ah",
                        &bms.nominal_capacity_Ah, 1, THINGSET_ANY_R | THINGSET_ANY_W,
                        TS_SUBSET_NVM);

THINGSET_ADD_ITEM_ARRAY(APP_ID_CONF, APP_ID_CONF_OCV_POINTS, "sOcvPoints_V", &ocv_points_arr,
                        THINGSET_ANY_R | THINGSET_ANY_W, TS_SUBSET_NVM);

THINGSET_ADD_ITEM_ARRAY(APP_ID_CONF, APP_ID_CONF_SOC_POINTS, "sSocPoints_pct", &soc_points_arr,
                        THINGSET_ANY_R | THINGSET_ANY_W, TS_SUBSET_NVM);

// current limits

THINGSET_ADD_ITEM_FLOAT(APP_ID_CONF, APP_ID_CONF_SHORT_CIRCUIT_CURRENT, "sShortCircuitLimit_A",
                        &bms.ic_conf.dis_sc_limit, 1, THINGSET_ANY_R | THINGSET_ANY_W,
                        TS_SUBSET_NVM);

THINGSET_ADD_ITEM_UINT32(APP_ID_CONF, APP_ID_CONF_SHORT_CIRCUIT_DELAY, "sShortCircuitDelay_us",
                         &bms.ic_conf.dis_sc_delay_us, THINGSET_ANY_R | THINGSET_ANY_W,
                         TS_SUBSET_NVM);

THINGSET_ADD_ITEM_FLOAT(APP_ID_CONF, APP_ID_CONF_DIS_OVERCURRENT, "sDisOvercurrent_A",
                        &bms.ic_conf.dis_oc_limit, 1, THINGSET_ANY_R | THINGSET_ANY_W,
                        TS_SUBSET_NVM);

THINGSET_ADD_ITEM_UINT32(APP_ID_CONF, APP_ID_CONF_DIS_OVERCURRENT_DELAY, "sDisOvercurrentDelay_ms",
                         &bms.ic_conf.dis_oc_delay_ms, THINGSET_ANY_R | THINGSET_ANY_W,
                         TS_SUBSET_NVM);

THINGSET_ADD_ITEM_FLOAT(APP_ID_CONF, APP_ID_CONF_CHG_OVERCURRENT, "sChgOvercurrent_A",
                        &bms.ic_conf.chg_oc_limit, 1, THINGSET_ANY_R | THINGSET_ANY_W,
                        TS_SUBSET_NVM);

THINGSET_ADD_ITEM_UINT32(APP_ID_CONF, APP_ID_CONF_CHG_OVERCURRENT_DELAY, "sChgOvercurrentDelay_ms",
                         &bms.ic_conf.chg_oc_delay_ms, THINGSET_ANY_R | THINGSET_ANY_W,
                         TS_SUBSET_NVM);

// temperature limits

THINGSET_ADD_ITEM_FLOAT(APP_ID_CONF, APP_ID_CONF_DIS_MAX_TEMP, "sDisMaxTemp_degC",
                        &bms.ic_conf.dis_ot_limit, 1, THINGSET_ANY_R | THINGSET_ANY_W,
                        TS_SUBSET_NVM);

THINGSET_ADD_ITEM_FLOAT(APP_ID_CONF, APP_ID_CONF_DIS_MIN_TEMP, "sDisMinTemp_degC",
                        &bms.ic_conf.dis_ut_limit, 1, THINGSET_ANY_R | THINGSET_ANY_W,
                        TS_SUBSET_NVM);

THINGSET_ADD_ITEM_FLOAT(APP_ID_CONF, APP_ID_CONF_CHG_MAX_TEMP, "sChgMaxTemp_degC",
                        &bms.ic_conf.chg_ot_limit, 1, THINGSET_ANY_R | THINGSET_ANY_W,
                        TS_SUBSET_NVM);

THINGSET_ADD_ITEM_FLOAT(APP_ID_CONF, APP_ID_CONF_CHG_MIN_TEMP, "sChgMinTemp_degC",
                        &bms.ic_conf.chg_ut_limit, 1, THINGSET_ANY_R | THINGSET_ANY_W,
                        TS_SUBSET_NVM);

THINGSET_ADD_ITEM_FLOAT(APP_ID_CONF, APP_ID_CONF_TEMP_HYST, "sTempLimitHysteresis_degC",
                        &bms.ic_conf.temp_limit_hyst, 1, THINGSET_ANY_R | THINGSET_ANY_W,
                        TS_SUBSET_NVM);

// voltage limits

THINGSET_ADD_ITEM_FLOAT(APP_ID_CONF, APP_ID_CONF_CELL_OVERVOLTAGE, "sCellOvervoltage_V",
                        &bms.ic_conf.cell_ov_limit, 1, THINGSET_ANY_R | THINGSET_ANY_W,
                        TS_SUBSET_NVM);

THINGSET_ADD_ITEM_FLOAT(APP_ID_CONF, APP_ID_CONF_CELL_OVERVOLTAGE_RESET, "sCellOvervoltageReset_V",
                        &bms.ic_conf.cell_ov_reset, 1, THINGSET_ANY_R | THINGSET_ANY_W,
                        TS_SUBSET_NVM);

THINGSET_ADD_ITEM_UINT32(APP_ID_CONF, APP_ID_CONF_CELL_OVERVOLTAGE_DELAY,
                         "sCellOvervoltageDelay_ms", &bms.ic_conf.cell_ov_delay_ms,
                         THINGSET_ANY_R | THINGSET_ANY_W, TS_SUBSET_NVM);

THINGSET_ADD_ITEM_FLOAT(APP_ID_CONF, APP_ID_CONF_CELL_UNDERVOLTAGE, "sCellUndervoltage_V",
                        &bms.ic_conf.cell_uv_limit, 1, THINGSET_ANY_R | THINGSET_ANY_W,
                        TS_SUBSET_NVM);

THINGSET_ADD_ITEM_FLOAT(APP_ID_CONF, APP_ID_CONF_CELL_UNDERVOLTAGE_RESET,
                        "sCellUndervoltageReset_V", &bms.ic_conf.cell_uv_reset, 1,
                        THINGSET_ANY_R | THINGSET_ANY_W, TS_SUBSET_NVM);

THINGSET_ADD_ITEM_UINT32(APP_ID_CONF, APP_ID_CONF_CELL_UNDERVOLTAGE_DELAY,
                         "sCellUndervoltageDelay_ms", &bms.ic_conf.cell_uv_delay_ms,
                         THINGSET_ANY_R | THINGSET_ANY_W, TS_SUBSET_NVM);

// balancing

THINGSET_ADD_ITEM_FLOAT(APP_ID_CONF, APP_ID_CONF_BAL_TARGET_DIFF, "sBalTargetVoltageDiff_V",
                        &bms.ic_conf.bal_cell_voltage_diff, 3, THINGSET_ANY_R | THINGSET_ANY_W,
                        TS_SUBSET_NVM);

THINGSET_ADD_ITEM_FLOAT(APP_ID_CONF, APP_ID_CONF_BAL_MIN_VOLTAGE, "sBalMinVoltage_V",
                        &bms.ic_conf.bal_cell_voltage_min, 1, THINGSET_ANY_R | THINGSET_ANY_W,
                        TS_SUBSET_NVM);

THINGSET_ADD_ITEM_UINT16(APP_ID_CONF, APP_ID_CONF_BAL_IDLE_DELAY, "sBalIdleDelay_s",
                         &bms.ic_conf.bal_idle_delay, THINGSET_ANY_R | THINGSET_ANY_W,
                         TS_SUBSET_NVM);

THINGSET_ADD_ITEM_FLOAT(APP_ID_CONF, APP_ID_CONF_BAL_IDLE_CURRENT, "sBalIdleCurrent_A",
                        &bms.ic_conf.bal_idle_current, 1, THINGSET_ANY_R | THINGSET_ANY_W,
                        TS_SUBSET_NVM);

THINGSET_ADD_FN_INT32(APP_ID_CONF, APP_ID_CONF_PRESET_NMC, "xPresetNMC", &bat_preset_nmc,
                      THINGSET_ANY_RW);
THINGSET_ADD_ITEM_FLOAT(APP_ID_CONF_PRESET_NMC, APP_ID_CONF_PRESET_NMC_CAPACITY, "fCapacity_Ah",
                        &new_capacity, 1, THINGSET_ANY_RW, 0);

THINGSET_ADD_FN_INT32(APP_ID_CONF, APP_ID_CONF_PRESET_LFP, "xPresetLFP", &bat_preset_lfp,
                      THINGSET_ANY_RW);
THINGSET_ADD_ITEM_FLOAT(APP_ID_CONF_PRESET_LFP, APP_ID_CONF_PRESET_LFP_CAPACITY, "fCapacity_Ah",
                        &new_capacity, 1, THINGSET_ANY_RW, 0);

THINGSET_ADD_FN_INT32(APP_ID_CONF, APP_ID_CONF_PRESET_LTO, "xPresetLTO", &bat_preset_lto,
                      THINGSET_ANY_RW);
THINGSET_ADD_ITEM_FLOAT(APP_ID_CONF_PRESET_LTO, APP_ID_CONF_PRESET_LTO_CAPACITY, "fCapacity_Ah",
                        &new_capacity, 1, THINGSET_ANY_RW, 0);

// MEAS DATA ////////////////////////////////////////////////////////////

THINGSET_ADD_GROUP(TS_ID_ROOT, APP_ID_MEAS, "Meas", THINGSET_NO_CALLBACK);

THINGSET_ADD_ITEM_FLOAT(APP_ID_MEAS, APP_ID_MEAS_PACK_VOLTAGE, "rPackVoltage_V",
                        &bms.ic_data.total_voltage, 2, THINGSET_ANY_R, TS_SUBSET_LIVE);

#ifdef CONFIG_BMS_IC_SWITCHES
THINGSET_ADD_ITEM_FLOAT(APP_ID_MEAS, APP_ID_MEAS_STACK_VOLTAGE, "rStackVoltage_V",
                        &bms.ic_data.external_voltage, 2, THINGSET_ANY_R, TS_SUBSET_LIVE);
#endif

#ifdef CONFIG_BMS_IC_SWITCHES
THINGSET_ADD_ITEM_FLOAT(APP_ID_MEAS, APP_ID_MEAS_PACK_CURRENT, "rPackCurrent_A",
                        &bms.ic_data.current, 2, THINGSET_ANY_R, TS_SUBSET_LIVE);
#endif

THINGSET_ADD_ITEM_ARRAY(APP_ID_MEAS, APP_ID_MEAS_CELL_TEMPS, "rCellTemps_degC", &cell_temps_arr,
                        THINGSET_ANY_R, TS_SUBSET_LIVE);

THINGSET_ADD_ITEM_FLOAT(APP_ID_MEAS, APP_ID_MEAS_IC_TEMP, "rICTemp_degC", &bms.ic_data.ic_temp, 1,
                        THINGSET_ANY_R, TS_SUBSET_LIVE);

// THINGSET_ADD_ITEM_FLOAT(APP_ID_MEAS, APP_ID_MEAS_MCU_TEMP, "rMCUTemp_degC", &mcu_temp, 1,
//      THINGSET_ANY_R, TS_SUBSET_LIVE);

#ifdef CONFIG_BMS_IC_SWITCHES
THINGSET_ADD_ITEM_FLOAT(APP_ID_MEAS, APP_ID_MEAS_MOSFET_TEMP, "rMOSFETTemp_degC",
                        &bms.ic_data.mosfet_temp, 1, THINGSET_ANY_R, TS_SUBSET_LIVE);
#endif

#ifdef CONFIG_BMS_IC_SHUNT_TEMP
THINGSET_ADD_ITEM_FLOAT(APP_ID_MEAS, APP_ID_MEAS_SHUNT_TEMP, "rShuntTemp_degC",
                        &bms.ic_data.shunt_temp, 1, THINGSET_ANY_R, TS_SUBSET_LIVE);
#endif

THINGSET_ADD_ITEM_FLOAT(APP_ID_MEAS, APP_ID_MEAS_SOC, "rSOC_pct", &bms.soc, 1, THINGSET_ANY_R,
                        TS_SUBSET_LIVE);

THINGSET_ADD_ITEM_UINT32(APP_ID_MEAS, APP_ID_MEAS_ERROR_FLAGS, "rErrorFlags",
                         &bms.ic_data.error_flags, THINGSET_ANY_R, TS_SUBSET_LIVE);

THINGSET_ADD_ITEM_UINT8(APP_ID_MEAS, APP_ID_MEAS_BMS_STATE, "rBmsState", (uint8_t *)&bms.state,
                        THINGSET_ANY_R, TS_SUBSET_LIVE);

THINGSET_ADD_ITEM_ARRAY(APP_ID_MEAS, APP_ID_MEAS_CELL_VOLTAGES, "rCellVoltages_V",
                        &cell_voltages_arr, THINGSET_ANY_R, TS_SUBSET_LIVE);

THINGSET_ADD_ITEM_FLOAT(APP_ID_MEAS, APP_ID_MEAS_CELL_AVG_VOLTAGE, "rCellAvgVoltage_V",
                        &bms.ic_data.cell_voltage_avg, 3, THINGSET_ANY_R, TS_SUBSET_LIVE);

THINGSET_ADD_ITEM_FLOAT(APP_ID_MEAS, APP_ID_MEAS_CELL_MIN_VOLTAGE, "rCellMinVoltage_V",
                        &bms.ic_data.cell_voltage_min, 3, THINGSET_ANY_R, TS_SUBSET_LIVE);

THINGSET_ADD_ITEM_FLOAT(APP_ID_MEAS, APP_ID_MEAS_CELL_MAX_VOLTAGE, "rCellMaxVoltage_V",
                        &bms.ic_data.cell_voltage_max, 3, THINGSET_ANY_R, TS_SUBSET_LIVE);

THINGSET_ADD_ITEM_UINT32(APP_ID_MEAS, APP_ID_MEAS_BALANCING_STATUS, "rBalancingStatus",
                         &bms.ic_data.balancing_status, THINGSET_ANY_R, TS_SUBSET_LIVE);

// INPUT DATA /////////////////////////////////////////////////////////////

THINGSET_ADD_GROUP(TS_ID_ROOT, APP_ID_INPUT, "Input", THINGSET_NO_CALLBACK);

THINGSET_ADD_ITEM_BOOL(APP_ID_INPUT, APP_ID_INPUT_CHG_ENABLE, "wChgEnable", &bms.chg_enable,
                       THINGSET_ANY_R | THINGSET_ANY_W, 0);

THINGSET_ADD_ITEM_BOOL(APP_ID_INPUT, APP_ID_INPUT_DIS_ENABLE, "wDisEnable", &bms.dis_enable,
                       THINGSET_ANY_R | THINGSET_ANY_W, 0);

int data_objects_update_conf(enum thingset_callback_reason reason,
                             const struct thingset_data_object *obj)
{
    if (reason == THINGSET_CALLBACK_POST_WRITE) {
        // ToDo: Validate new settings before applying them

        bms_ic_configure(bms.ic_dev, &bms.ic_conf, BMS_IC_CONF_ALL);

#ifdef CONFIG_THINGSET_STORAGE
        thingset_storage_save_queued(true);
#endif
    }
    return 0;
}

int32_t bat_preset(enum bms_cell_type type)
{
    int ret;

    bms_init_config(&bms, type, new_capacity);

    ret = bms_ic_configure(bms.ic_dev, &bms.ic_conf, BMS_IC_CONF_ALL);

#ifdef CONFIG_THINGSET_STORAGE
    if (ret > 0) {
        thingset_storage_save_queued(true);
    }
#endif

    // Always return 1 in case of success, as the flags returned by bms_ic_configure can be
    // confusing for end users in the App. Actually applied config can be retrieved via ThingSet.
    return ret > 0 ? 1 : ret;
}

int32_t bat_preset_nmc()
{
    return bat_preset(CELL_TYPE_NMC);
}

int32_t bat_preset_lfp()
{
    return bat_preset(CELL_TYPE_LFP);
}

int32_t bat_preset_lto()
{
    return bat_preset(CELL_TYPE_LTO);
}

void print_registers()
{
    bms_ic_debug_print_mem(bms.ic_dev);
}

void reset_device()
{
    sys_reboot(SYS_REBOOT_COLD);
}

void shutdown()
{
    bms_ic_set_mode(bms.ic_dev, BMS_IC_MODE_OFF);
}
```
